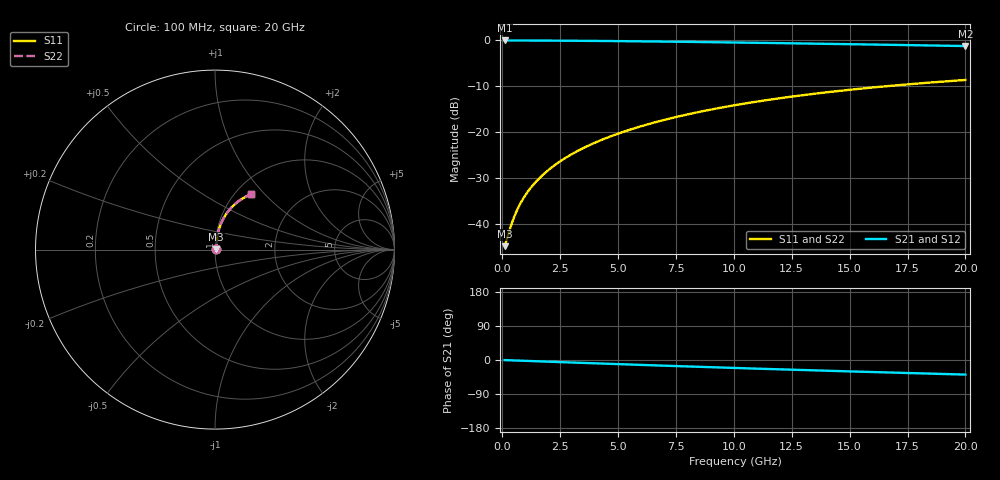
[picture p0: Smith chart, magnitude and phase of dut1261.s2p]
! Touchstone file exported from HFSS 2024.1.0
!  File:  C:/UserFiles/LocalFiles/RDL_TSV_Batchsim/temp_RDL_top_1261_1780241790.aedt
!  Generated:  11:38:39 PM May 31, 2026
!  Design:  RDL_top
!  Project:  temp_RDL_top_1261_1780241790
!  Setup:  Setup1
!  Solution:  Sweep
! Variables:
!  dtsv = 10.80580581um
!  hbump = 3um
!  htsv = 67.56um
!  ldown = 100um
!  lrdl = 541.39um
!  p = 40
!  p1 = 40.32um
!  rhole = 1um
!  t = 450um
!  tdown = 3.915915916um
!  trdl = 2.13um
!  wdown = 15.38538539um
!  wrdl = 17.38um
# GHz S MA R 50.000000
! Terminal data exported
! Port[1] = Box2_T1
! Port[2] = Box2_T2
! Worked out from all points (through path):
!   200 points, 100 MHz to 20 GHz, reference 50 ohm
!   highest |S21| = -0.05 dB at 100 MHz (marker M1); lowest = -1.3 dB at 20 GHz (marker M2)
!   group delay of S21, straight-line fit = 5.33 ps
!   lowest |S11| = -44.7 dB at 100 MHz (marker M3), VSWR 1.01, Z = 50.5 + j0.213 ohm
!   |S11| at or under -10 dB: start of sweep to 16.56 GHz
!   |S22| runs from -44.7 to -8.6 dB; largest |S21 - S12| = 2.6e-15
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0.1  0.005794 21.3  0.9946 -0.2  0.9946 -0.2  0.005794 21.3
! Gamma 0 0 0 0
! Port Impedance 50 0 50 0
0.4  0.01008 54.8  0.9942 -0.9  0.9942 -0.9  0.01008 54.8
0.5  0.01183 59.6  0.9939 -1.2  0.9939 -1.2  0.01183 59.6
0.6  0.01361 63.0  0.9937 -1.4  0.9937 -1.4  0.01361 63.0
0.7  0.01541 65.6  0.9935 -1.6  0.9935 -1.6  0.01541 65.6
0.9  0.019 69.3  0.9931 -2.1  0.9931 -2.1  0.019 69.3
1.2  0.02441 72.9  0.9924 -2.7  0.9924 -2.7  0.02441 72.9
1.4  0.02804 74.5  0.992 -3.2  0.992 -3.2  0.02804 74.5
1.7  0.03353 76.3  0.9913 -3.8  0.9913 -3.8  0.03353 76.3
2.2  0.04279 78.2  0.99 -4.9  0.99 -4.9  0.04279 78.2
2.8  0.05406 79.4  0.9881 -6.2  0.9881 -6.2  0.05407 79.4
3.5  0.06743 79.9  0.9855 -7.7  0.9855 -7.7  0.06744 80.0
4.2  0.08097 80.0  0.9825 -9.2  0.9825 -9.2  0.08099 80.1
5  0.09665 79.7  0.9786 -10.9  0.9786 -10.9  0.09668 79.8
5.9  0.1145 79.0  0.9736 -12.8  0.9736 -12.8  0.1145 79.1
6.8  0.1324 78.1  0.9681 -14.6  0.9681 -14.6  0.1325 78.1
8.4  0.1644 75.9  0.9574 -17.8  0.9574 -17.8  0.1645 76.0
10.1  0.1981 73.3  0.9451 -21.1  0.9451 -21.1  0.1982 73.4
11.7  0.229 70.7  0.9328 -24.1  0.9328 -24.1  0.2293 70.7
13.4  0.2609 67.8  0.9193 -27.3  0.9193 -27.3  0.2611 67.9
16.7  0.3186 62.1  0.8923 -33.0  0.8923 -33.0  0.3189 62.2
20  0.3702 56.7  0.8649 -38.5  0.8649 -38.5  0.3706 56.8
